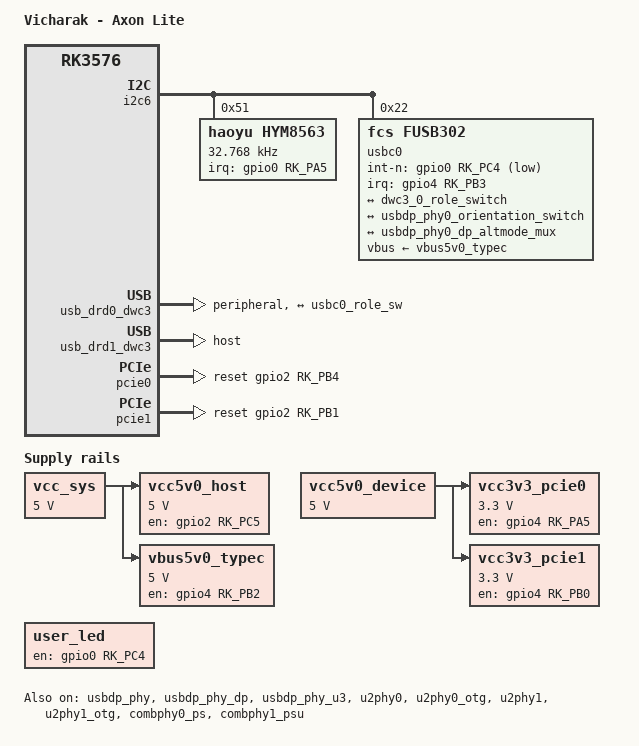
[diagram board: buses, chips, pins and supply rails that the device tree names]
// SPDX-License-Identifier: (GPL-2.0+ OR MIT)
/*
 * Copyright (c) 2026 Rockchip Electronics Co., Ltd.
 * Copyright (c) 2026 Vicharak Computers Pvt. Ltd.
 */

/dts-v1/;
#include "rk3576.dtsi"
#include "rk3576-u-boot.dtsi"
#include <dt-bindings/usb/pd.h>
#include <dt-bindings/input/input.h>

/ {
	model = "Vicharak - Axon Lite";
	compatible = "vicharak,axon-lite", "rockchip,rk3576";

	vcc_sys: vcc5v0-sys {
		compatible = "regulator-fixed";
		regulator-name = "vcc_sys";
		regulator-always-on;
		regulator-boot-on;
		regulator-min-microvolt = <5000000>;
		regulator-max-microvolt = <5000000>;
	};

	vcc5v0_host: vcc5v0-host {
		compatible = "regulator-fixed";
		regulator-name = "vcc5v0_host";
		regulator-boot-on;
		regulator-always-on;
		regulator-min-microvolt = <5000000>;
		regulator-max-microvolt = <5000000>;
		enable-active-high;
		gpio = <&gpio2 RK_PC5 GPIO_ACTIVE_HIGH>;
		pinctrl-names = "default";
		pinctrl-0 = <&usb_host_pwren>;
		vin-supply = <&vcc_sys>;
	};

	vcc5v0_device: vcc5v0-device {
		compatible = "regulator-fixed";
		regulator-name = "vcc5v0_device";
		regulator-boot-on;
		regulator-always-on;
		regulator-min-microvolt = <5000000>;
		regulator-max-microvolt = <5000000>;
	};

	vcc3v3_pcie0: vcc3v3-pcie0 {
		compatible = "regulator-fixed";
		regulator-name = "vcc3v3_pcie0";
		regulator-min-microvolt = <3300000>;
		regulator-max-microvolt = <3300000>;
		enable-active-high;
		gpios = <&gpio4 RK_PA5 GPIO_ACTIVE_HIGH>;
		startup-delay-us = <5000>;
		regulator-boot-on;
		regulator-always-on;
		vin-supply = <&vcc5v0_device>;
	};

	vcc3v3_pcie1: vcc3v3-pcie1 {
		compatible = "regulator-fixed";
		regulator-name = "vcc3v3_pcie1";
		regulator-min-microvolt = <3300000>;
		regulator-max-microvolt = <3300000>;
		enable-active-high;
		gpios = <&gpio4 RK_PB0 GPIO_ACTIVE_HIGH>;
		startup-delay-us = <5000>;
		regulator-boot-on;
		regulator-always-on;
		vin-supply = <&vcc5v0_device>;
	};
	
	vbus5v0_typec: vbus5v0-typec {
		compatible = "regulator-fixed";
		regulator-name = "vbus5v0_typec";
		regulator-boot-on;
		regulator-always-on;
		regulator-min-microvolt = <5000000>;
		regulator-max-microvolt = <5000000>;
		enable-active-high;
		gpio = <&gpio4 RK_PB2 GPIO_ACTIVE_HIGH>;
		pinctrl-names = "default";
		pinctrl-0 = <&usb_otg0_pwren>;
		vin-supply = <&vcc_sys>;
	};

	
	
	user_led: user-led {
		  u-boot,dm-pre-reloc;
		  compatible = "regulator-fixed";
		  regulator-name = "use_led";
		  enable-active-high;
		  gpio = <&gpio0 RK_PC4 GPIO_ACTIVE_HIGH>;
		  regulator-boot-on;
		  regulator-always-on;
	  };

	adc-keys {
		  compatible = "adc-keys";
		  io-channels = <&saradc 1>;
		  io-channel-names = "buttons";
		  keyup-threshold-microvolt = <1800000>;
		  u-boot,dm-pre-reloc;
		  status = "disabled";

		  volumeup-key {
			  u-boot,dm-pre-reloc;
			  linux,code = <KEY_VOLUMEUP>;
			  label = "volume up";
			  press-threshold-microvolt = <1750>;
		  };
	  };
};



&i2c6 {
	u-boot,dm-pre-reloc;
	status = "okay";
	pinctrl-names = "default";
	pinctrl-0 = <&i2c6m3_xfer>;

	hym8563: hym8563@51 {
		compatible = "haoyu,hym8563";
		reg = <0x51>;
		#clock-cells = <0>;
		clock-frequency = <32768>;
		clock-output-names = "hym8563";
		pinctrl-names = "default";
		pinctrl-0 = <&hym8563_int>;
		interrupt-parent = <&gpio0>;
		interrupts = <RK_PA5 IRQ_TYPE_LEVEL_LOW>;
		wakeup-source;
	};

	usbc0: fusb302@22 {
		u-boot,dm-pre-reloc;
		compatible = "fcs,fusb302";
		reg = <0x22>;
		interrupt-parent = <&gpio4>;
		interrupts = <RK_PB3 IRQ_TYPE_LEVEL_LOW>;
		int-n-gpios = <&gpio0 RK_PC4 GPIO_ACTIVE_LOW>;
		pinctrl-names = "default";
		pinctrl-0 = <&usbc0_int>;
		vbus-supply = <&vbus5v0_typec>;
		status = "okay";

		ports {
			#address-cells = <1>;
			#size-cells = <0>;
			port@0 {
			reg = <0>;
			usbc0_role_sw: endpoint@0 {
				remote-endpoint = <&dwc3_0_role_switch>;
				};
			};
		};

		usb_con: connector {
			compatible = "usb-c-connector";
			label = "USB-C";
			data-role = "dual";
			power-role = "dual";
			try-power-role = "sink";
			op-sink-microwatt = <1000000>;

			sink-pdos =
				<PDO_FIXED(5000, 1000, PDO_FIXED_USB_COMM)>;
			source-pdos =
				<PDO_FIXED(5000, 3000, PDO_FIXED_USB_COMM)>;

			altmodes {
				#address-cells = <1>;
				#size-cells = <0>;

				altmode@0 {
					reg = <0>;
					svid = <0xff01>;
					vdo = <0xffffffff>;
				};
			};

			ports {
				#address-cells = <1>;
				#size-cells = <0>;

				port@0 {
					reg = <0>;
					usbc0_orien_sw: endpoint {
						remote-endpoint = <&usbdp_phy0_orientation_switch>;
					};
				};

				port@1 {
					reg = <1>;
					dp_altmode_mux: endpoint {
						remote-endpoint = <&usbdp_phy0_dp_altmode_mux>;
					};
				};
			};
		};
	};
};

&usbdp_phy {
	u-boot,dm-pre-reloc;
	status = "okay";
	orientation-switch;
	svid = <0xff01>;


	sbu1-dc-gpios = <&gpio4 RK_PC4 GPIO_ACTIVE_HIGH>;
	sbu2-dc-gpios = <&gpio4 RK_PC5 GPIO_ACTIVE_HIGH>;

	port {
		#address-cells = <1>;
		#size-cells = <0>;

		usbdp_phy0_orientation_switch: endpoint@0 {
			reg = <0>;
			remote-endpoint = <&usbc0_orien_sw>;
		};

		usbdp_phy0_dp_altmode_mux: endpoint@1 {
			reg = <1>;
			remote-endpoint = <&dp_altmode_mux>;
		};
	};

};

&usbdp_phy_dp {
	u-boot,dm-pre-reloc;
	status = "okay";
};

&usbdp_phy_u3 {
	u-boot,dm-pre-reloc;
	status = "okay";
};

&u2phy0 {
	u-boot,dm-pre-reloc;
	status = "okay";
};

&u2phy0_otg {
	u-boot,dm-pre-reloc;
	phy-supply = <&vbus5v0_typec>;
	status = "okay";
};

&u2phy1 {
	u-boot,dm-pre-reloc;
	status = "okay";
};

&u2phy1_otg {
	u-boot,dm-pre-reloc;
	phy-supply = <&vcc5v0_host>;
	status = "okay";
};

&usb_drd0_dwc3 {
	u-boot,dm-pre-reloc;
	status = "okay";
	dr_mode = "peripheral";
	usb-role-switch;
//	extcon = <&u2phy0>;
//	maximum-speed = "super-speed";

	port {
		#address-cells = <1>;
		#size-cells = <0>;

		dwc3_0_role_switch: endpoint@0 {
			reg = <0>;
			remote-endpoint = <&usbc0_role_sw>;
		};
	};
};

&usb_drd1_dwc3 {
	u-boot,dm-pre-reloc;
	dr_mode = "host";
	maximum-speed = "super-speed";
	status = "okay";
};


&combphy0_ps {
	u-boot,dm-pre-reloc;
	status = "okay";
};

&combphy1_psu {
	u-boot,dm-pre-reloc;
	status = "okay";
};

&pcie0 {
	u-boot,dm-pre-reloc;
	reset-gpios = <&gpio2 RK_PB4 GPIO_ACTIVE_HIGH>;
	rockchip,skip-scan-in-resume;
	status = "okay";
};

&pcie1 {
	u-boot,dm-pre-reloc;
	reset-gpios = <&gpio2 RK_PB1 GPIO_ACTIVE_HIGH>;
	rockchip,skip-scan-in-resume;
	status="okay";
};

&pcie0_intc {
	u-boot,dm-pre-reloc;
};

&pinctrl {
	u-boot,dm-pre-reloc;
	pcie {
		u-boot,dm-pre-reloc;
	pcie_pwr_en: pcie-pwr-en {
		     u-boot,dm-pre-reloc;
		     rockchip,pins = <2 RK_PD3 RK_FUNC_GPIO &pcfg_pull_none>;
	     };
	};

	usb {
		usb_host_pwren: usb-host-pwren {
			rockchip,pins = <2 RK_PC5 RK_FUNC_GPIO &pcfg_pull_none>;
		};

		usb_otg0_pwren: usb-otg0-pwren {
			rockchip,pins = <4 RK_PB2 RK_FUNC_GPIO &pcfg_pull_none>;
		};

		usbc0_int: usbc0-int {
			rockchip,pins = <4 RK_PB3 RK_FUNC_GPIO &pcfg_pull_up>;
		};
	};
	
	hym8563 {
		hym8563_int: hym8563-int {
			rockchip,pins = <0 RK_PA5 RK_FUNC_GPIO &pcfg_pull_up>;
		};
	};
};
